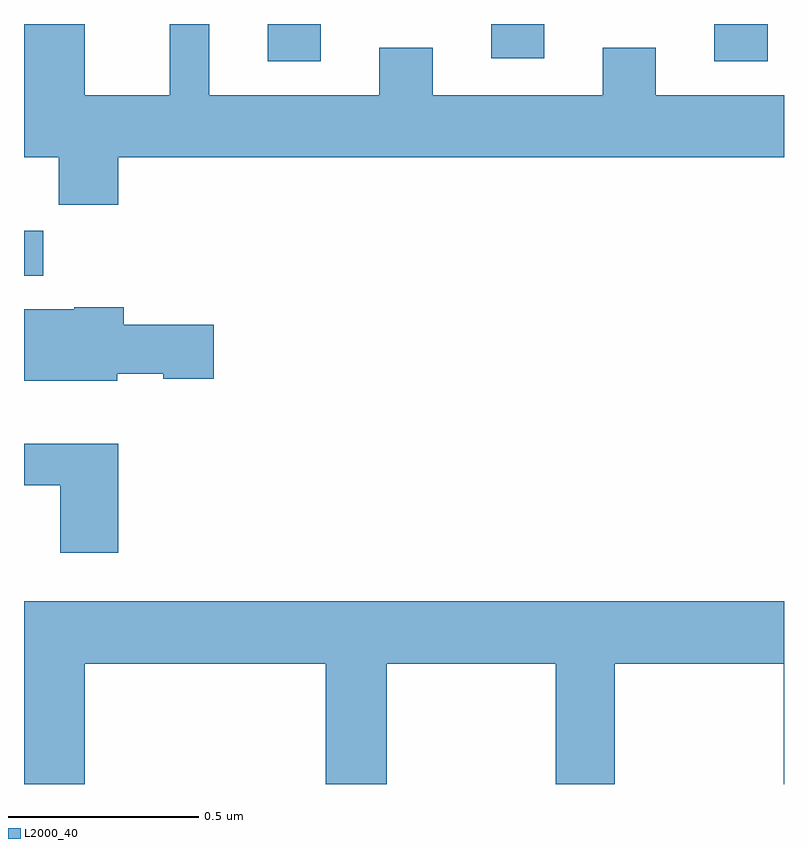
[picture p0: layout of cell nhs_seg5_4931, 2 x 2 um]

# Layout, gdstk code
import gdstk
lib = gdstk.Library(unit=1e-6, precision=1e-09)
def R(c, l, rs):  # rectangles x0, y0, x1, y1
    for r in rs: c.add(gdstk.rectangle(r[:2], r[2:], *l))
def P(c, l, *ps):  # polygons
    for p in ps: c.add(gdstk.Polygon(p, *l))
L2000_40 = (2000, 40)

nhs_seg5_4931 = lib.new_cell('nhs_seg5_4931')
R(nhs_seg5_4931, L2000_40, [(177,835.136,177.05,835.255), (177.641,835.701,177.781,835.799), (178.817,835.701,178.957,835.799), (178.229,835.709,178.369,835.799)])
P(nhs_seg5_4931, L2000_40, [(177.248,835.448),(179,835.448),(179,835.612),(178.663,835.612),(178.663,835.736),(178.523,835.736),(178.523,835.612),(178.075,835.612),(178.075,835.736),(177.935,835.736),(177.935,835.612),(177.487,835.612),(177.487,835.799),(177.383,835.799),(177.383,835.612),(177.16,835.612),(177.16,835.799),(177,835.799),(177,835.448),(177.091,835.448),(177.091,835.324),(177.248,835.324)],
  [(177.246,834.878),(177.366,834.878),(177.366,834.866),(177.499,834.866),(177.499,835.008),(177.263,835.008),(177.263,835.054),(177.132,835.054),(177.132,835.048),(177,835.048),(177,834.86),(177.246,834.86)],
  [(177.248,834.694),(177,834.694),(177,834.585),(177.095,834.585),(177.095,834.408),(177.248,834.408)],
  [(177.16,834.116),(177.794,834.116),(177.794,833.799),(177.954,833.799),(177.954,834.116),(178.399,834.116),(178.399,833.799),(178.554,833.799),(178.554,834.116),(178.999,834.116),(178.999,833.799),(179,833.799),(179,834.28),(177,834.28),(177,833.799),(177.16,833.799)])

lib.write_gds('nhs_seg5_4931.gds')
